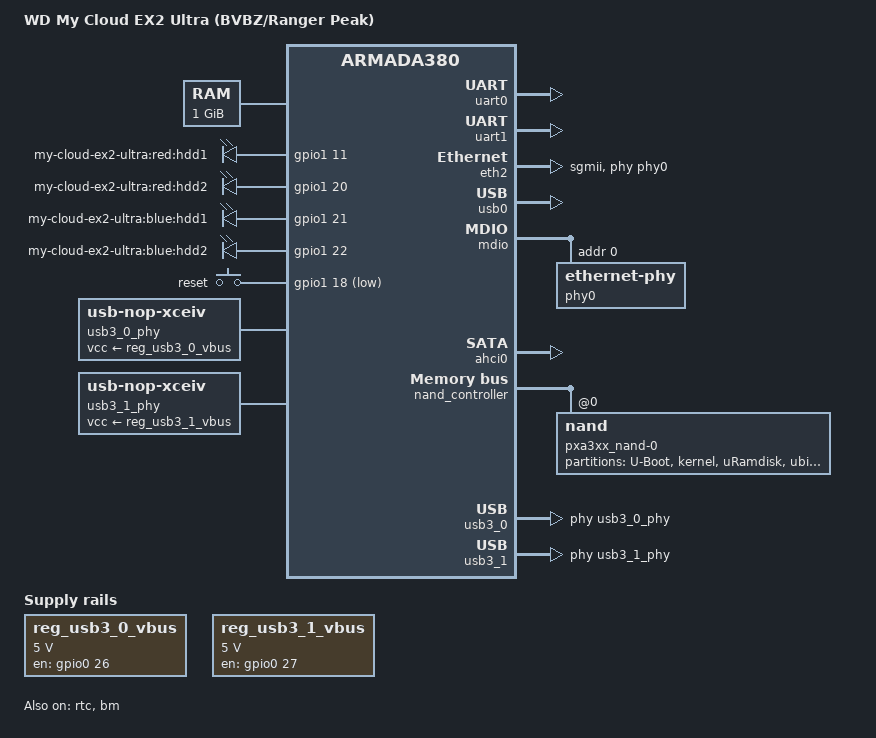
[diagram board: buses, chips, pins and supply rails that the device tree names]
// SPDX-License-Identifier: (GPL-2.0 OR MIT)
/*
 * Device Tree file for Western Digital My Cloud EX2 Ultra
 * (BVBZ/Ranger Peak)
 *
 * Copyright (C) 2019 Evgeny Kolesnikov <evgenyz@gmail.com>
 *
 * Based on the code from:
 *
 * Copyright (C) 2016 Martin Mueller <mm@sig21.net>
 * Copyright (C) 2013 Gregory CLEMENT <gregory.clement@free-electrons.com>
 * Copyright (C) 2013 Thomas Petazzoni <thomas.petazzoni@free-electrons.com>
 */

/dts-v1/;
#include <dt-bindings/input/input.h>
#include <dt-bindings/gpio/gpio.h>
#include "armada-385.dtsi"

/ {
	model = "WD My Cloud EX2 Ultra (BVBZ/Ranger Peak)";
	compatible = "wd,my-cloud-ex2-ultra", "marvell,armada385", "marvell,armada38x",
		     "marvell,armada380";

	chosen {
		stdout-path = "serial0:115200n8";
		bootargs = "console=ttyS0,115200";
	};

	memory {
		device_type = "memory";
		reg = <0x00000000 0x40000000>;
	};

	soc {
		ranges = <MBUS_ID(0xf0, 0x01) 0 0xf1000000 0x100000
			  MBUS_ID(0x01, 0x1d) 0 0xfff00000 0x100000
			  MBUS_ID(0x09, 0x19) 0 0xf1100000 0x010000
			  MBUS_ID(0x09, 0x15) 0 0xf1110000 0x010000
			  MBUS_ID(0x0c, 0x04) 0 0xf1200000 0x100000>;

		internal-regs {
			timer@c200 {
				status = "disabled";
			};

			poweroff@12100 {
				compatible = "wd,power-off";
				reg = <0x12100 0x100>;
				clocks = <&coreclk 0>;
				status = "okay";
			};

			crypto@9d000 {
				status = "okay";
			};
		};

		bm-bppi {
			status = "okay";
		};
	};

	gpio-leds {
		compatible = "gpio-leds";
		pinctrl-names = "default";
		pinctrl-0 = <&sata_leds>;

		hdd1_red {
			label = "my-cloud-ex2-ultra:red:hdd1";
			gpios = <&gpio1 11 GPIO_ACTIVE_HIGH>;
		};

		hdd2_red {
			label = "my-cloud-ex2-ultra:red:hdd2";
			gpios = <&gpio1 20 GPIO_ACTIVE_HIGH>;
		};

		hdd1_blue {
			label = "my-cloud-ex2-ultra:blue:hdd1";
			gpios = <&gpio1 21 GPIO_ACTIVE_HIGH>;
			linux,default-trigger = "default-on";
		};

		hdd2_blue {
			label = "my-cloud-ex2-ultra:blue:hdd2";
			gpios = <&gpio1 22 GPIO_ACTIVE_HIGH>;
			linux,default-trigger = "default-on";
		};
	};

	gpio-keys {
		compatible = "gpio-keys";
		pinctrl-names = "default";
		pinctrl-0 = <&btn_pins>;
		#address-cells = <1>;
		#size-cells = <0>;

		reset {
			label = "reset";
			linux,code = <KEY_RESTART>;
			gpios = <&gpio1 18 GPIO_ACTIVE_LOW>;
			debounce-interval = <60>;
			wakeup-source;
		};
	};

	usb3_0_phy: usb3_0_phy {
		compatible = "usb-nop-xceiv";
		vcc-supply = <&reg_usb3_0_vbus>;
	};

	usb3_1_phy: usb3_1_phy {
		compatible = "usb-nop-xceiv";
		vcc-supply = <&reg_usb3_1_vbus>;
	};

	reg_usb3_0_vbus: usb3-vbus0 {
		compatible = "regulator-fixed";
		regulator-name = "usb3-vbus0";
		pinctrl-names = "default";
		pinctrl-0 = <&xhci0_vbus_pins>;
		regulator-min-microvolt = <5000000>;
		regulator-max-microvolt = <5000000>;
		enable-active-high;
		regulator-always-on;
		gpio = <&gpio0 26 GPIO_ACTIVE_HIGH>;
	};

	reg_usb3_1_vbus: usb3-vbus1 {
		compatible = "regulator-fixed";
		regulator-name = "usb3-vbus1";
		pinctrl-names = "default";
		pinctrl-0 = <&xhci1_vbus_pins>;
		regulator-min-microvolt = <5000000>;
		regulator-max-microvolt = <5000000>;
		enable-active-high;
		regulator-always-on;
		gpio = <&gpio0 27 GPIO_ACTIVE_HIGH>;
	};
};

&uart0 {
	status = "okay";
};

/* Connected to Welltrend 6703F-OG240WT MCU
	* which controls power, fan and other things
	*/
&uart1 {
	status = "okay";
};

&pinctrl {
	uart1_pins: uart-pins-1 {
		marvell,pins = "mpp19";
		marvell,function = "ua1";
	};

	xhci0_vbus_pins: xhci0-vbus-pins {
		marvell,pins = "mpp26";
		marvell,function = "gpio";
	};

	xhci1_vbus_pins: xhci1-vbus-pins {
		marvell,pins = "mpp27";
		marvell,function = "gpio";
	};

	sata0_pins: sata-pins-0 {
		marvell,pins = "mpp55";
		marvell,function = "sata0";
	};

	sata1_pins: sata-pins-1 {
		marvell,pins = "mpp56";
		marvell,function = "sata1";
	};

	sata_leds: sata-leds {
		marvell,pins = "mpp43", "mpp52",
					"mpp53", "mpp54";
		marvell,function = "gpio";
	};

	btn_pins: btn-pins {
		marvell,pins = "mpp50";
		marvell,function = "gpio";
	};
};

&eth2 {
	phy = <&phy0>;
	phy-mode = "sgmii";
	buffer-manager = <&bm>;
	bm,pool-long = <0>;
	bm,pool-short = <1>;
	status = "okay";
};

&usb0 {
	status = "okay";
};

&mdio {
	phy0: ethernet-phy@0 {
		/* Init ETH LEDs */
		marvell,reg-init = <3 16 0 0x101e>;
		reg = <0>;
	};
};

&rtc {
	status = "okay";
};

&ahci0 {
	status = "okay";
};

&bm {
	status = "okay";
};

&nand_controller {
	status = "okay";

	nand: nand@0 {
		reg = <0>;
		label = "pxa3xx_nand-0";
		marvell,nand-keep-config;
		nand-rb = <0>;
		nand-on-flash-bbt;
		nand-ecc-strength = <4>;
		nand-ecc-step-size = <512>;

		partitions {
			compatible = "fixed-partitions";
			#address-cells = <1>;
			#size-cells = <1>;

			partition@0 {
				label = "U-Boot";
				reg = <0x00000000 0x00500000>;
				read-only;
			};

			partition@500000 {
				label = "kernel";
				reg = <0x00500000 0x00500000>;
			};

			partition@a00000 {
				label = "uRamdisk";
				reg = <0x00a00000 0x00500000>;
				read-only;
			};

			partition@f00000 {
				label = "ubi";
				reg = <0x00f00000 0x0b900000>;
			};

			partition@c800000 {
				label = "Recovery";
				reg = <0x0c800000 0x00f00000>;
				read-only;
			};

			partition@d700000 {
				label = "config";
				reg = <0x0d700000 0x01400000>;
			};

			partition@eb00000 {
				label = "reserve1";
				reg = <0x0eb00000 0x00a00000>;
				read-only;
			};

			partition@f500000 {
				label = "reserve2";
				reg = <0x0f500000 0x00a00000>;
				read-only;
			};
		};
	};
};

&sdhci {
	status = "disabled";
};

&usb3_0 {
	usb-phy = <&usb3_0_phy>;
	status = "okay";
};

&usb3_1 {
	usb-phy = <&usb3_1_phy>;
	status = "okay";
};
